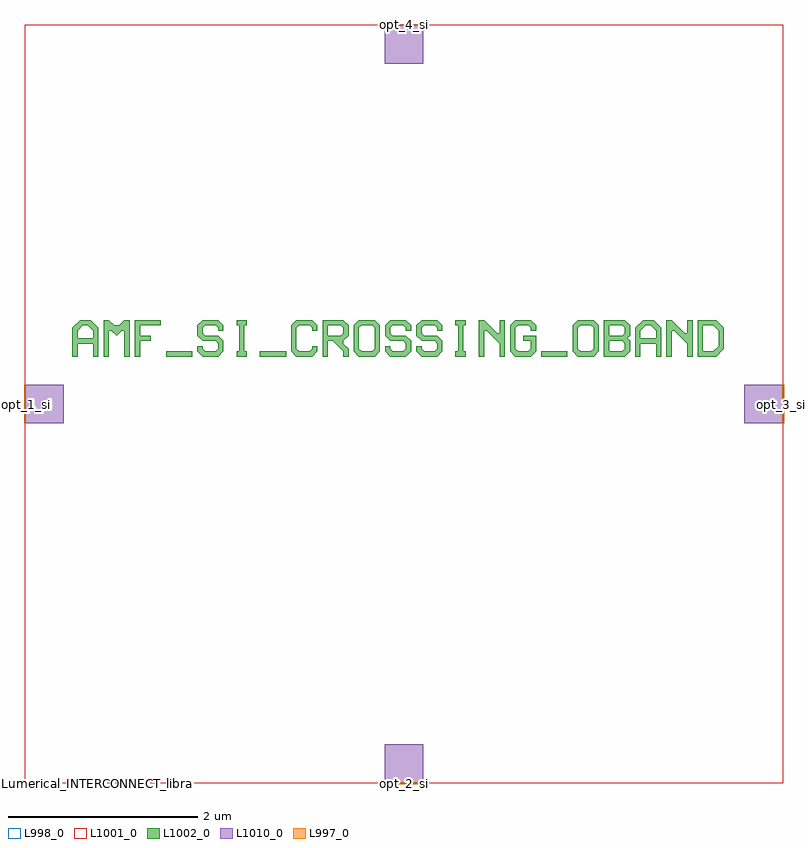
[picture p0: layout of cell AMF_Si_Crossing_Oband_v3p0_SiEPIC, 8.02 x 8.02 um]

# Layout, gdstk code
import gdstk
lib = gdstk.Library(unit=1e-6, precision=1e-09)
def R(c, l, rs):  # rectangles x0, y0, x1, y1
    for r in rs: c.add(gdstk.rectangle(r[:2], r[2:], *l))
def P(c, l, *ps):  # polygons
    for p in ps: c.add(gdstk.Polygon(p, *l))
L997_0 = (997, 0)
L998_0 = (998, 0)
L1001_0 = (1001, 0)
L1002_0 = (1002, 0)
L1010_0 = (1010, 0)

amf_si_crossing_oband_v3 = lib.new_cell('AMF_Si_Crossing_Oband_v3p0')
R(amf_si_crossing_oband_v3, L1001_0, [(0,-4,8,4)])
R(amf_si_crossing_oband_v3, L1002_0, [(1.49,0.5,1.765,0.555), (2.48,0.5,2.755,0.555), (5.45,0.5,5.725,0.555)])
P(amf_si_crossing_oband_v3, L1002_0, [(0.5,0.5),(0.5,0.803),(0.583,0.885),(0.693,0.885),(0.748,0.83),(0.61,0.83),(0.555,0.775),(0.555,0.693),(0.72,0.693),(0.72,0.775),(0.665,0.83),(0.748,0.83),(0.775,0.803),(0.775,0.5),(0.72,0.5),(0.72,0.638),(0.555,0.638),(0.555,0.5)],
  [(0.83,0.5),(0.83,0.885),(0.885,0.885),(0.94,0.83),(0.995,0.83),(1.05,0.885),(1.105,0.885),(1.105,0.5),(1.05,0.5),(1.05,0.775),(1.023,0.775),(0.968,0.72),(0.913,0.775),(0.885,0.775),(0.885,0.5)],
  [(1.16,0.5),(1.16,0.885),(1.435,0.885),(1.435,0.83),(1.215,0.83),(1.215,0.72),(1.325,0.72),(1.325,0.665),(1.215,0.665),(1.215,0.5)],
  [(1.875,0.5),(1.82,0.555),(1.82,0.61),(1.875,0.61),(1.875,0.583),(1.903,0.555),(2.013,0.555),(2.04,0.583),(2.04,0.638),(2.013,0.665),(1.875,0.665),(1.82,0.72),(1.82,0.83),(1.875,0.885),(2.04,0.885),(2.095,0.83),(2.095,0.775),(2.04,0.775),(2.04,0.803),(2.013,0.83),(1.903,0.83),(1.875,0.803),(1.875,0.748),(1.903,0.72),(2.04,0.72),(2.095,0.665),(2.095,0.555),(2.04,0.5)],
  [(2.233,0.5),(2.233,0.555),(2.26,0.555),(2.26,0.83),(2.233,0.83),(2.233,0.885),(2.343,0.885),(2.343,0.83),(2.315,0.83),(2.315,0.555),(2.343,0.555),(2.343,0.5)],
  [(2.865,0.5),(2.81,0.555),(2.81,0.83),(2.865,0.885),(3.03,0.885),(3.085,0.83),(3.085,0.775),(3.03,0.775),(3.03,0.803),(3.003,0.83),(2.893,0.83),(2.865,0.803),(2.865,0.583),(2.893,0.555),(3.003,0.555),(3.03,0.583),(3.03,0.61),(3.085,0.61),(3.085,0.555),(3.03,0.5)],
  [(3.14,0.5),(3.14,0.885),(3.36,0.885),(3.415,0.83),(3.195,0.83),(3.195,0.72),(3.333,0.72),(3.36,0.748),(3.36,0.803),(3.333,0.83),(3.415,0.83),(3.415,0.72),(3.36,0.665),(3.36,0.638),(3.415,0.583),(3.415,0.5),(3.36,0.5),(3.36,0.555),(3.25,0.665),(3.195,0.665),(3.195,0.5)],
  [(3.525,0.5),(3.47,0.555),(3.47,0.83),(3.525,0.885),(3.69,0.885),(3.745,0.83),(3.745,0.693),(3.69,0.693),(3.69,0.803),(3.663,0.83),(3.553,0.83),(3.525,0.803),(3.525,0.583),(3.553,0.555),(3.663,0.555),(3.69,0.583),(3.69,0.693),(3.745,0.693),(3.745,0.555),(3.69,0.5)],
  [(3.855,0.5),(3.8,0.555),(3.8,0.61),(3.855,0.61),(3.855,0.583),(3.883,0.555),(3.993,0.555),(4.02,0.583),(4.02,0.638),(3.993,0.665),(3.855,0.665),(3.8,0.72),(3.8,0.83),(3.855,0.885),(4.02,0.885),(4.075,0.83),(4.075,0.775),(4.02,0.775),(4.02,0.803),(3.993,0.83),(3.883,0.83),(3.855,0.803),(3.855,0.748),(3.883,0.72),(4.02,0.72),(4.075,0.665),(4.075,0.555),(4.02,0.5)],
  [(4.185,0.5),(4.13,0.555),(4.13,0.61),(4.185,0.61),(4.185,0.583),(4.213,0.555),(4.323,0.555),(4.35,0.583),(4.35,0.638),(4.323,0.665),(4.185,0.665),(4.13,0.72),(4.13,0.83),(4.185,0.885),(4.35,0.885),(4.405,0.83),(4.405,0.775),(4.35,0.775),(4.35,0.803),(4.323,0.83),(4.213,0.83),(4.185,0.803),(4.185,0.748),(4.213,0.72),(4.35,0.72),(4.405,0.665),(4.405,0.555),(4.35,0.5)],
  [(4.543,0.5),(4.543,0.555),(4.57,0.555),(4.57,0.83),(4.543,0.83),(4.543,0.885),(4.653,0.885),(4.653,0.83),(4.625,0.83),(4.625,0.555),(4.653,0.555),(4.653,0.5)],
  [(4.79,0.5),(4.79,0.885),(4.845,0.885),(4.983,0.748),(5.01,0.748),(5.01,0.885),(5.065,0.885),(5.065,0.5),(5.01,0.5),(5.01,0.638),(4.873,0.775),(4.845,0.775),(4.845,0.5)],
  [(5.175,0.5),(5.12,0.555),(5.12,0.83),(5.175,0.885),(5.34,0.885),(5.395,0.83),(5.395,0.775),(5.34,0.775),(5.34,0.803),(5.313,0.83),(5.203,0.83),(5.175,0.803),(5.175,0.583),(5.203,0.555),(5.313,0.555),(5.34,0.583),(5.34,0.665),(5.258,0.665),(5.258,0.72),(5.395,0.72),(5.395,0.555),(5.34,0.5)],
  [(5.835,0.5),(5.78,0.555),(5.78,0.83),(5.835,0.885),(6,0.885),(6.055,0.83),(6.055,0.693),(6,0.693),(6,0.803),(5.973,0.83),(5.863,0.83),(5.835,0.803),(5.835,0.583),(5.863,0.555),(5.973,0.555),(6,0.583),(6,0.693),(6.055,0.693),(6.055,0.555),(6,0.5)],
  [(6.11,0.5),(6.11,0.885),(6.33,0.885),(6.385,0.83),(6.165,0.83),(6.165,0.72),(6.303,0.72),(6.33,0.748),(6.33,0.803),(6.303,0.83),(6.385,0.83),(6.385,0.72),(6.358,0.693),(6.385,0.665),(6.165,0.665),(6.165,0.555),(6.303,0.555),(6.33,0.583),(6.33,0.638),(6.303,0.665),(6.385,0.665),(6.385,0.555),(6.33,0.5)],
  [(6.44,0.5),(6.44,0.803),(6.523,0.885),(6.633,0.885),(6.688,0.83),(6.55,0.83),(6.495,0.775),(6.495,0.693),(6.66,0.693),(6.66,0.775),(6.605,0.83),(6.688,0.83),(6.715,0.803),(6.715,0.5),(6.66,0.5),(6.66,0.638),(6.495,0.638),(6.495,0.5)],
  [(6.77,0.5),(6.77,0.885),(6.825,0.885),(6.963,0.748),(6.99,0.748),(6.99,0.885),(7.045,0.885),(7.045,0.5),(6.99,0.5),(6.99,0.638),(6.853,0.775),(6.825,0.775),(6.825,0.5)],
  [(7.1,0.5),(7.1,0.885),(7.293,0.885),(7.348,0.83),(7.155,0.83),(7.155,0.555),(7.265,0.555),(7.32,0.61),(7.32,0.775),(7.265,0.83),(7.348,0.83),(7.375,0.803),(7.375,0.583),(7.293,0.5)])
R(amf_si_crossing_oband_v3, L1010_0, [(3.795,-4,4.205,-3.59), (0,-0.205,0.41,0.205), (7.59,-0.205,8,0.205), (3.795,3.59,4.205,4)])
amf_si_crossing_oband_v3.add(gdstk.Label('opt_3_si', (8,0), layer=1010, texttype=0))
amf_si_crossing_oband_v3.add(gdstk.Label('opt_4_si', (4,4), layer=1010, texttype=0))
amf_si_crossing_oband_v3.add(gdstk.Label('opt_2_si', (4,-4), layer=1010, texttype=0))
amf_si_crossing_oband_v3.add(gdstk.Label('opt_1_si', (0,0), layer=1010, texttype=0))

c_amf_si_crossing_oband_v3 = lib.new_cell('AMF_Si_Crossing_Oband_v3p0_SiEPIC')
R(c_amf_si_crossing_oband_v3, L998_0, [(0,-4,8,4)])
c_amf_si_crossing_oband_v3.add(gdstk.FlexPath([(7.99,0),(8.01,0)], 0.41, ends="flush", simple_path=True, layer=997, datatype=0))  # L997_0
c_amf_si_crossing_oband_v3.add(gdstk.FlexPath([(4,3.99),(4,4.01)], 0.41, ends="flush", simple_path=True, layer=997, datatype=0))  # L997_0
c_amf_si_crossing_oband_v3.add(gdstk.FlexPath([(4,-3.99),(4,-4.01)], 0.41, ends="flush", simple_path=True, layer=997, datatype=0))  # L997_0
c_amf_si_crossing_oband_v3.add(gdstk.FlexPath([(0.01,0),(-0.01,0)], 0.41, ends="flush", simple_path=True, layer=997, datatype=0))  # L997_0
c_amf_si_crossing_oband_v3.add(gdstk.Reference(amf_si_crossing_oband_v3, (0,0)))
c_amf_si_crossing_oband_v3.add(gdstk.Label('Lumerical_INTERCONNECT_library=Design kits/AMF_CML', (0,-4), layer=998, texttype=0))
c_amf_si_crossing_oband_v3.add(gdstk.Label('Component=AMF_Si_Crossing_Oband_v3p0', (0,-3.9), layer=998, texttype=0))
c_amf_si_crossing_oband_v3.add(gdstk.Label('opt_3_si', (8,0), layer=997, texttype=0))
c_amf_si_crossing_oband_v3.add(gdstk.Label('opt_4_si', (4,4), layer=997, texttype=0))
c_amf_si_crossing_oband_v3.add(gdstk.Label('opt_2_si', (4,-4), layer=997, texttype=0))
c_amf_si_crossing_oband_v3.add(gdstk.Label('opt_1_si', (0,0), layer=997, texttype=0))
c_amf_si_crossing_oband_v3.add(gdstk.Label('opt_3_si', (8,0), layer=997, texttype=0))
c_amf_si_crossing_oband_v3.add(gdstk.Label('opt_4_si', (4,4), layer=997, texttype=0))
c_amf_si_crossing_oband_v3.add(gdstk.Label('opt_2_si', (4,-4), layer=997, texttype=0))
c_amf_si_crossing_oband_v3.add(gdstk.Label('opt_1_si', (0,0), layer=997, texttype=0))

lib.write_gds('AMF_Si_Crossing_Oband_v3p0_SiEPIC.gds')
